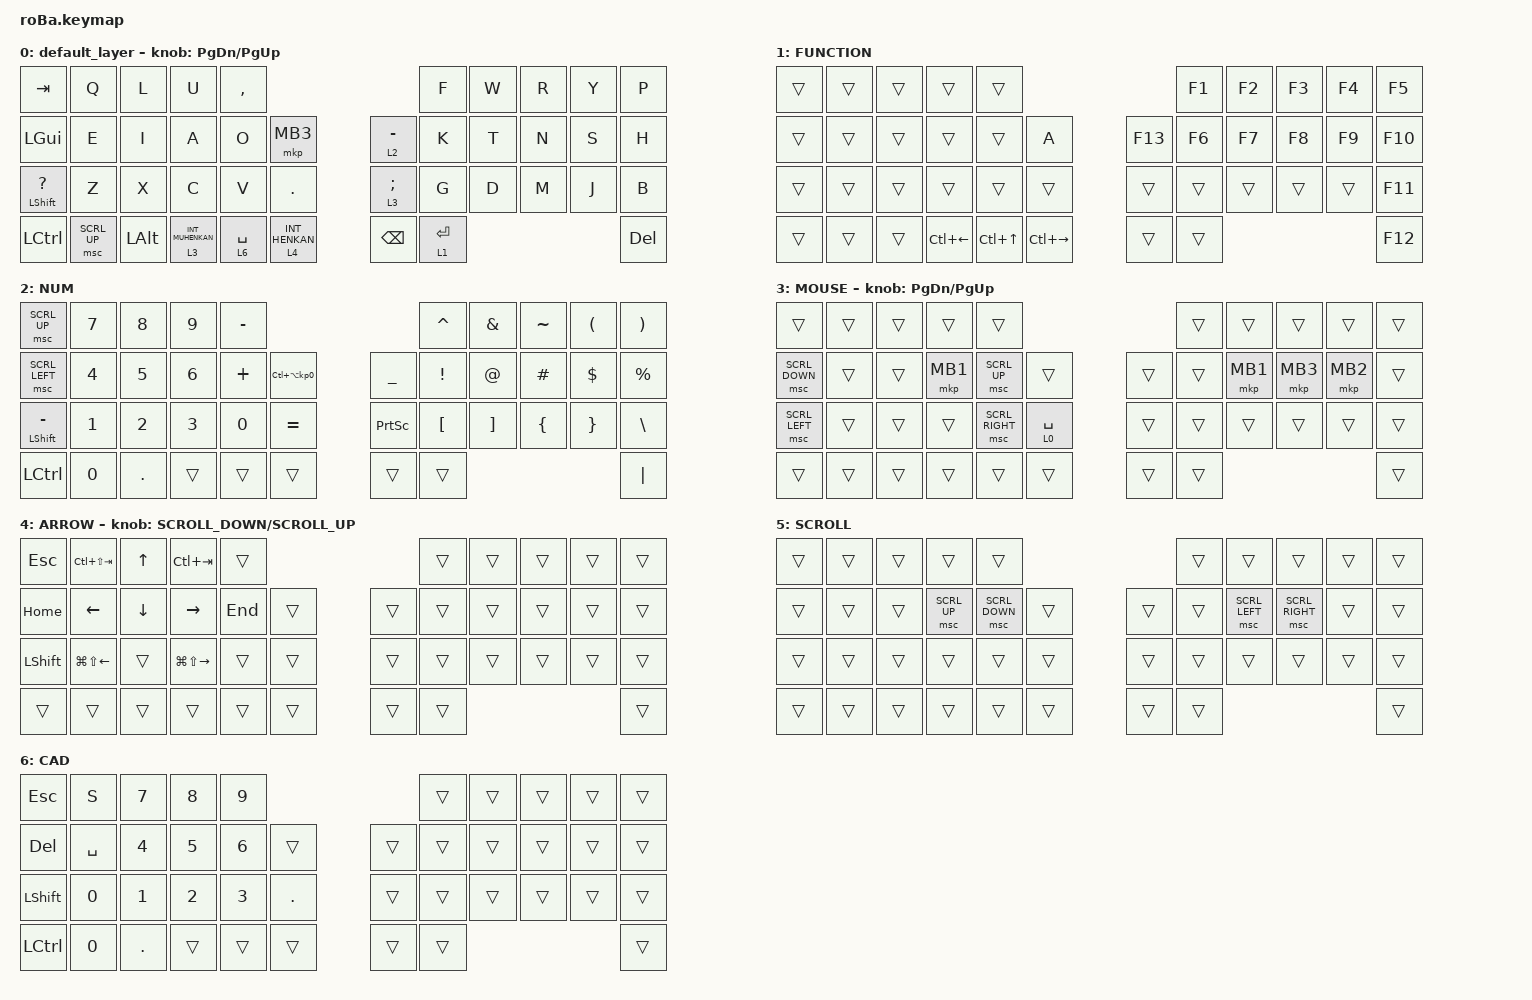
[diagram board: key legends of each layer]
#include <behaviors.dtsi>
#include <dt-bindings/zmk/keys.h>
#include <dt-bindings/zmk/pointing.h>

#define MOUSE 4
#define SCROLL 5
#define NUM 6

&mt {
    flavor = "balanced";
    quick-tap-ms = <0>;
};

/ {
    combos {
        compatible = "zmk,combos";

        tab {
            bindings = <&kp TAB>;
            key-positions = <11 12>;
        };

        shift_tab {
            bindings = <&kp LS(TAB)>;
            key-positions = <12 13>;
        };

        muhennkann {
            bindings = <&to_layer_0 INT_MUHENKAN>;
            key-positions = <11 10>;
        };

        double_quotation {
            bindings = <&kp DOUBLE_QUOTES>;
            key-positions = <20 21>;
        };

        eq {
            bindings = <&kp EQUAL>;
            key-positions = <24 25>;
        };
    };

    macros {
        to_layer_0: to_layer_0 {
            compatible = "zmk,behavior-macro-one-param";
            #binding-cells = <1>;
            bindings = <&to 0 &macro_param_1to1 &kp MACRO_PLACEHOLDER>;
            label = "TO_LAYER_0";
        };
    };

    behaviors {
        lt_to_layer_0: lt_to_layer_0 {
            compatible = "zmk,behavior-hold-tap";
            label = "LAYER_TAP_TO_0";
            bindings = <&mo>, <&to_layer_0>;

            #binding-cells = <2>;
            tapping-term-ms = <200>;
        };

        scroll_up_down: behavior_sensor_rotate_mouse_wheel_up_down {
            compatible = "zmk,behavior-sensor-rotate";
            #sensor-binding-cells = <0>;
            bindings = <&msc SCRL_UP>, <&msc SCRL_DOWN>;

            tap-ms = <20>;
        };
    };

    keymap {
        compatible = "zmk,keymap";

        default_layer {
            bindings = <
&kp TAB                  &kp Q         &kp L         &kp U                          &kp COMMA                                                                 &kp F        &kp W  &kp R  &kp Y  &kp P
&kp LEFT_GUI             &kp E         &kp I         &kp A                          &kp O        &mkp MB3                         &lt_to_layer_0 2 MINUS      &kp K        &kp T  &kp N  &kp S  &kp H
&mt LEFT_SHIFT QUESTION  &kp Z         &kp X         &kp C                          &kp V        &kp PERIOD                       &lt_to_layer_0 3 SEMICOLON  &kp G        &kp D  &kp M  &kp J  &kp B
&kp LEFT_CONTROL         &msc SCRL_UP  &kp LEFT_ALT  &lt_to_layer_0 3 INT_MUHENKAN  &lt 6 SPACE  &lt_to_layer_0 4 INT_HENKAN      &kp BACKSPACE               &lt 1 ENTER                       &kp DEL
            >;

            sensor-bindings = <&inc_dec_kp PAGE_DOWN PAGE_UP>;
        };

        FUNCTION {
            bindings = <
&trans  &trans  &trans  &trans              &trans                                              &kp F1  &kp F2  &kp F3  &kp F4  &kp F5
&trans  &trans  &trans  &trans              &trans            &kp A                    &kp F13  &kp F6  &kp F7  &kp F8  &kp F9  &kp F10
&trans  &trans  &trans  &trans              &trans            &trans                   &trans   &trans  &trans  &trans  &trans  &kp F11
&trans  &trans  &trans  &kp LC(LEFT_ARROW)  &kp LC(UP_ARROW)  &kp LC(RIGHT_ARROW)      &trans   &trans                          &kp F12
            >;
        };

        NUM {
            bindings = <
&msc SCRL_UP          &kp N7        &kp N8        &kp N9        &kp MINUS                                                &kp CARET         &kp AMPERSAND      &kp TILDE       &kp LEFT_PARENTHESIS  &kp RIGHT_PARENTHESIS
&msc SCRL_LEFT        &kp NUMBER_4  &kp N5        &kp NUMBER_6  &kp PLUS   &kp LC(LA(KP_NUMBER_0))      &kp UNDERSCORE   &kp EXCLAMATION   &kp AT_SIGN        &kp HASH        &kp DOLLAR            &kp PERCENT
&mt LEFT_SHIFT MINUS  &kp NUMBER_1  &kp NUMBER_2  &kp NUMBER_3  &kp N0     &kp EQUAL                    &kp PRINTSCREEN  &kp LEFT_BRACKET  &kp RIGHT_BRACKET  &kp LEFT_BRACE  &kp RIGHT_BRACE       &kp BACKSLASH
&kp LCTRL             &kp N0        &kp PERIOD    &trans        &trans     &trans                       &trans           &trans                                                                     &kp PIPE
            >;
        };

        MOUSE {
            bindings = <
&trans          &trans  &trans  &trans    &trans                                    &trans  &trans    &trans    &trans    &trans
&msc SCRL_DOWN  &trans  &trans  &mkp MB1  &msc SCRL_UP     &trans           &trans  &trans  &mkp MB1  &mkp MB3  &mkp MB2  &trans
&msc SCRL_LEFT  &trans  &trans  &trans    &msc SCRL_RIGHT  &lt 0 SPACE      &trans  &trans  &trans    &trans    &trans    &trans
&trans          &trans  &trans  &trans    &trans           &trans           &trans  &trans                                &trans
            >;

            sensor-bindings = <&inc_dec_kp PAGE_DOWN PAGE_UP>;
        };

        ARROW {
            bindings = <
&kp ESCAPE      &kp LC(LS(TAB))         &kp UP_ARROW    &kp LC(TAB)              &trans                       &trans  &trans  &trans  &trans  &trans
&kp HOME        &kp LEFT_ARROW          &kp DOWN_ARROW  &kp RIGHT_ARROW          &kp END  &trans      &trans  &trans  &trans  &trans  &trans  &trans
&kp LEFT_SHIFT  &kp LG(LS(LEFT_ARROW))  &trans          &kp LG(LS(RIGHT_ARROW))  &trans   &trans      &trans  &trans  &trans  &trans  &trans  &trans
&trans          &trans                  &trans          &trans                   &trans   &trans      &trans  &trans                          &trans
            >;

            sensor-bindings = <&inc_dec_kp K_SCROLL_DOWN K_SCROLL_UP>;
        };

        SCROLL {
            bindings = <
&trans  &trans  &trans  &trans        &trans                              &trans  &trans          &trans           &trans  &trans
&trans  &trans  &trans  &msc SCRL_UP  &msc SCRL_DOWN  &trans      &trans  &trans  &msc SCRL_LEFT  &msc SCRL_RIGHT  &trans  &trans
&trans  &trans  &trans  &trans        &trans          &trans      &trans  &trans  &trans          &trans           &trans  &trans
&trans  &trans  &trans  &trans        &trans          &trans      &trans  &trans                                           &trans
            >;
        };

        CAD {
            bindings = <
&kp ESCAPE        &kp S      &kp NUMBER_7  &kp NUMBER_8  &kp NUMBER_9                          &trans  &trans  &trans  &trans  &trans
&kp DELETE        &kp SPACE  &kp NUMBER_4  &kp NUMBER_5  &kp NUMBER_6  &trans          &trans  &trans  &trans  &trans  &trans  &trans
&kp LEFT_SHIFT    &kp N0     &kp NUMBER_1  &kp NUMBER_2  &kp NUMBER_3  &kp PERIOD      &trans  &trans  &trans  &trans  &trans  &trans
&kp LEFT_CONTROL  &kp N0     &kp PERIOD    &trans        &trans        &trans          &trans  &trans                          &trans
            >;
        };
    };
};
